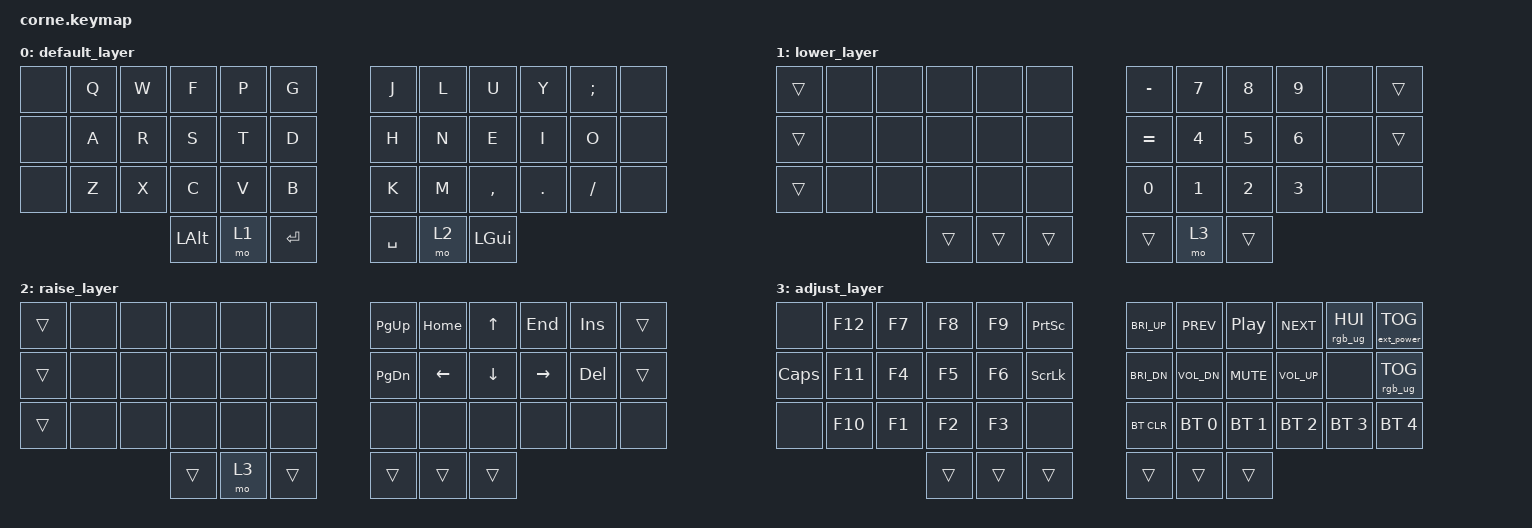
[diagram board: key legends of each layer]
/*
 * Copyright (c) 2020 The ZMK Contributors
 *
 * SPDX-License-Identifier: MIT
 */

#include <behaviors.dtsi>

// -----------------------------------------------------------------------------
// LED WORKAROUND
// -----------------------------------------------------------------------------

#include <dt-bindings/led/led.h>
#include <dt-bindings/zmk/bt.h>
#include <dt-bindings/zmk/ext_power.h>
#include <dt-bindings/zmk/keys.h>
#include <dt-bindings/zmk/rgb.h>

&spi1 {
    compatible = "nordic,nrf-spim";

    /* Cannot be used together with i2c0. */

    status = "okay";
    mosi-pin = <6>;

    // Unused pins, needed for SPI definition, but not used by the ws2812 driver itself.

    sck-pin = <5>;
    miso-pin = <7>;

    led_strip: ws2812@0 {
        compatible = "worldsemi,ws2812-spi";
        label = "SK6812mini";

        /* SPI */

        reg = <0>;/* ignored, but necessary for SPI bindings */
        spi-max-frequency = <4000000>;

        /* WS2812 */

        chain-length = <27>;/* There are per-key RGB, but the first 6 are underglow */
        spi-one-frame = <0x70>;
        spi-zero-frame = <0x40>;
        color-mapping = <LED_COLOR_ID_GREEN LED_COLOR_ID_RED LED_COLOR_ID_BLUE>;
    };
};

/ {
    chosen {
        zmk,underglow = &led_strip;
    };
};

// -----------------------------------------------------------------------------

/ {
    keymap {
        compatible = "zmk,keymap";

        default_layer {
            bindings = <
&none  &kp Q  &kp W     &kp F  &kp P    &kp G      &kp J  &kp L      &kp U    &kp Y  &kp SEMI  &none
&none  &kp A  &kp R     &kp S  &kp T    &kp D      &kp H  &kp N      &kp E    &kp I     &kp O  &none
&none  &kp Z  &kp X     &kp C  &kp V    &kp B      &kp K  &kp M  &kp COMMA  &kp DOT  &kp FSLH  &none
                     &kp LALT  &mo 1  &kp RET  &kp SPACE  &mo 2   &kp LGUI
            >;
        };

        lower_layer {
            bindings = <
&trans  &none  &none   &none   &none   &none     &kp MINUS  &kp NUMBER_7  &kp NUMBER_8  &kp NUMBER_9  &none  &trans
&trans  &none  &none   &none   &none   &none     &kp EQUAL  &kp NUMBER_4  &kp NUMBER_5  &kp NUMBER_6  &none  &trans
&trans  &none  &none   &none   &none   &none  &kp NUMBER_0  &kp NUMBER_1  &kp NUMBER_2  &kp NUMBER_3  &none   &none
                      &trans  &trans  &trans        &trans         &mo 3        &trans
            >;
        };

        raise_layer {
            bindings = <
&trans  &none  &none   &none  &none   &none  &kp PG_UP  &kp HOME    &kp UP    &kp END  &kp INS  &trans
&trans  &none  &none   &none  &none   &none  &kp PG_DN  &kp LEFT  &kp DOWN  &kp RIGHT  &kp DEL  &trans
&trans  &none  &none   &none  &none   &none      &none     &none     &none      &none    &none   &none
                      &trans  &mo 3  &trans     &trans    &trans    &trans
            >;
        };

        adjust_layer {
            bindings = <
   &none  &kp F12  &kp F7  &kp F8  &kp F9  &kp PSCRN  &kp C_BRI_UP    &kp C_PREV      &kp C_PP    &kp C_NEXT  &rgb_ug RGB_HUI  &ext_power EP_TOG
&kp CAPS  &kp F11  &kp F4  &kp F5  &kp F6   &kp SLCK  &kp C_BRI_DN  &kp C_VOL_DN    &kp C_MUTE  &kp C_VOL_UP            &none    &rgb_ug RGB_TOG
   &none  &kp F10  &kp F1  &kp F2  &kp F3      &none    &bt BT_CLR  &bt BT_SEL 0  &bt BT_SEL 1  &bt BT_SEL 2     &bt BT_SEL 3       &bt BT_SEL 4
                           &trans  &trans     &trans        &trans        &trans        &trans
            >;
        };
    };
};
